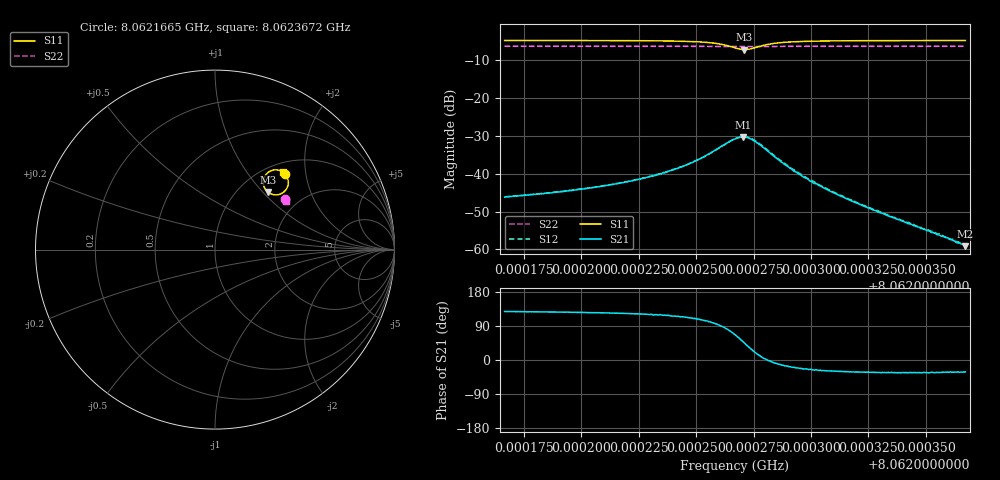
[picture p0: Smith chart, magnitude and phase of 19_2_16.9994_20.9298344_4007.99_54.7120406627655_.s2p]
#  HZ  S  RI  R  50.00
! Rohde & Schwarz Vector Network Analyzer
! Rohde-Schwarz,ZNB20-2Port,1311601062101988,3.16
! Created: UTC 3/20/2024, 10:52:54 PM
! freq[Hz]  re:S11  im:S11  re:S21  im:S21  re:S12  im:S12  re:S22  im:S22
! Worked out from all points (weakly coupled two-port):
!   401 points, 8.0621665 GHz to 8.0623672 GHz, reference 50 ohm
!   highest |S21| = -30.33 dB at 8.0622704 GHz (marker M1); lowest = -59.1 dB at 8.0623672 GHz (marker M2)
!   lowest |S11| = -7.2 dB at 8.0622709 GHz (marker M3), VSWR 2.54, Z = 67.3 + j53.4 ohm
!   |S11| at or under -10 dB: nowhere
!   |S22| runs from -6.4 to -6.3 dB; largest |S21 - S12| = 0.0012
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8.06216651e9  0.3889 0.4237  -0.00302 0.00386  -0.00282 0.00409  0.3918 0.2814
8.06218558e9  0.3919 0.4203  -0.00331 0.00443  -0.0031 0.00467  0.3924 0.2804
8.06220013e9  0.3946 0.4168  -0.00363 0.00511  -0.00337 0.0053  0.393 0.2795
8.06221669e9  0.3985 0.411  -0.00412 0.00626  -0.0038 0.00656  0.3937 0.2784
8.06223375e9  0.4039 0.3998  -0.00472 0.00864  -0.00425 0.00895  0.3942 0.2771
8.06224278e9  0.4072 0.3886  -0.00497 0.0112  -0.0043 0.0112  0.3944 0.2761
8.06225081e9  0.4086 0.3713  -0.00479 0.0146  -0.00391 0.0148  0.3945 0.2751
8.06226034e9  0.3945 0.3325  -0.000411 0.0224  0.000534 0.0222  0.3937 0.2732
8.06226686e9  0.3434 0.305  0.0113 0.0265  0.0121 0.0262  0.3915 0.2725
8.06227037e9  0.2994 0.3169  0.0203 0.0227  0.021 0.0223  0.3899 0.2735
8.06227088e9  0.2939 0.3211  0.0215 0.0216  0.0221 0.0213  0.3896 0.2735
8.06227288e9  0.2766 0.3427  0.0245 0.0165  0.0253 0.0161  0.3893 0.2744
8.06227539e9  0.269 0.3734  0.0252 0.00966  0.0261 0.00916  0.3894 0.2759
8.0622789e9  0.2772 0.4078  0.0224 0.00235  0.0232 0.00178  0.3904 0.277
8.06228242e9  0.2934 0.4277  0.0184 -0.00122  0.0189 -0.00208  0.3914 0.2776
8.06229095e9  0.3254 0.4432  0.0112 -0.00357  0.0113 -0.0043  0.3933 0.2775
8.06230048e9  0.3453 0.4442  0.00702 -0.00337  0.00702 -0.00384  0.3944 0.2768
8.06230449e9  0.3507 0.4436  0.00597 -0.0032  0.00593 -0.00352  0.3948 0.2765
8.06231503e9  0.3602 0.4411  0.00408 -0.00244  0.00404 -0.00272  0.3954 0.2756
8.0623341e9  0.3702 0.437  0.00229 -0.00153  0.00225 -0.00165  0.3964 0.2745
8.06235868e9  0.377 0.4334  0.00122 -0.000751  0.00118 -0.000844  0.3975 0.2731
8.06236721e9  0.3788 0.4323  0.000945 -0.000572  0.000945 -0.000706  0.3978 0.2726
